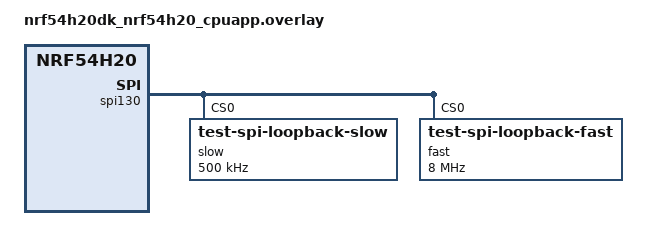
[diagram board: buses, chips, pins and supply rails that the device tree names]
/*
 * Copyright (c) 2024 Nordic Semiconductor ASA
 *
 * SPDX-License-Identifier: Apache-2.0
 */
#include "nrf54h20dk_nrf54h20_common.dtsi"

&spi130 {
	memory-regions = <&cpuapp_dma_region>;
	zephyr,pm-device-runtime-auto;
	slow@0 {
		compatible = "test-spi-loopback-slow";
		reg = <0>;
		spi-max-frequency = <DT_FREQ_K(500)>;
	};
	fast@0 {
		compatible = "test-spi-loopback-fast";
		reg = <0>;
		spi-max-frequency = <DT_FREQ_M(8)>;
	};
};
